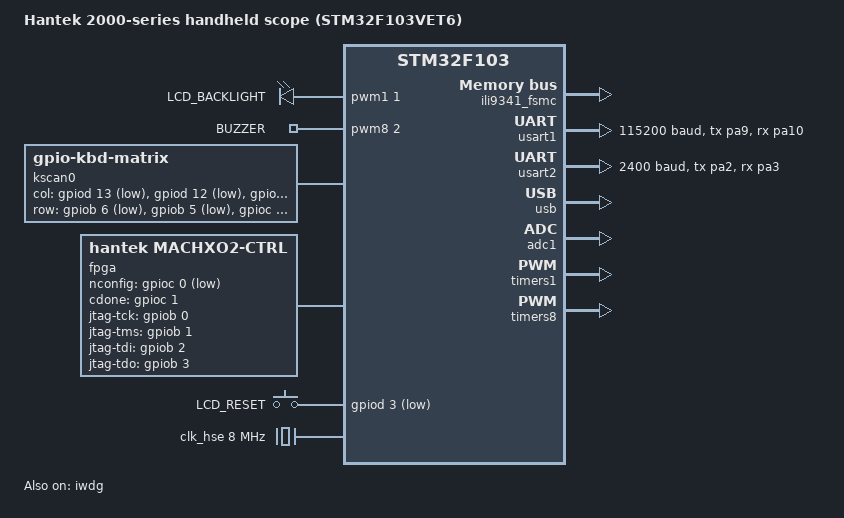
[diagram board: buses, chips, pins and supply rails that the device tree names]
/*
 * Hantek 2000-series handheld scope (2D82AUTO / 2D72 / 2D42 / 2C72 / 2C42)
 * Zephyr board devicetree — a STARTING POINT for clean-room firmware.
 *
 * Derived from firmware reverse-engineering (see docs/hantek/):
 *   MCU   STM32F103VET6  (Cortex-M3, 512K flash / 64K RAM, 100-pin, HAS FSMC)
 *   FPGA  Lattice MachXO2 (capture engine) -- GPIO/SPI control (NOT memory-mapped)
 *   ADC   AD9288 dual 8-bit 40MSPS -> FPGA (not MCU)
 *   DAC   3PD5651E 12-bit parallel (=DAC902) -- AWG, streamed by FPGA
 *   DMM   CS7721 ICL7106-class dual-slope ADC -- slow serial read
 *   AMP   EL5166/LMH6702 -- AWG output buffer (analog)
 *   LCD   parallel TFT on FSMC bank1 @0x60000000 (reads pGLCD_ID at init)
 *   Keys  F1-F4 + arrows + Power (GPIO scan; F1+Power = DFU entry)
 *
 * VERIFIED markers:  [V]=seen in firmware  [?]=inferred, NEEDS board tracing.
 * Pin numbers below are PLACEHOLDERS [?] -- trace the PCB / read the firmware GPIO
 * init to fill real ports. The app at 0x08005000 (20K bootloader); see /chosen.
 */

/dts-v1/;
#include <st/f1/stm32f103Xe.dtsi>
#include <st/f1/stm32f103v(c-d-e)tx-pinctrl.dtsi>
#include <zephyr/dt-bindings/gpio/gpio.h>
#include <zephyr/dt-bindings/pwm/pwm.h>

/ {
	model = "Hantek 2000-series handheld scope (STM32F103VET6)";
	compatible = "hantek,2d82", "st,stm32f103";

	chosen {
		zephyr,sram = &sram0;
		zephyr,flash = &flash0;
		/* console: a TTL/UART debug port exists (the 'Program Arm1' 3.3V header) [V] */
		zephyr,console = &usart1;
		zephyr,shell-uart = &usart1;
		zephyr,keyboard-scan = &kscan0;
	};

	/* LCD backlight: PA8 = TIM1_CH1 [V]. Buzzer: PC7 = TIM8_CH2 [V] (PSC=719 ARR=32 → 3030 Hz).
	 * Both driven via PWM so the clean-room firmware can match OEM behaviour. */
	pwm_leds: pwm-leds {
		compatible = "pwm-leds";
		backlight: backlight {
			pwms = <&pwm1 1 PWM_MSEC(1) PWM_POLARITY_NORMAL>;
			label = "LCD_BACKLIGHT";
		};
	};

	pwm_buzzers: pwm-buzzers {
		compatible = "pwm-leds";
		buzzer: buzzer {
			pwms = <&pwm8 2 PWM_USEC(330) PWM_POLARITY_NORMAL>;
			label = "BUZZER";
		};
	};

	/* 5×4 scanned key matrix = 20 keys.  All pins CONFIRMED from firmware.
	 *
	 * Zephyr gpio-kbd-matrix drives col-gpios as outputs (one low at a time)
	 * and reads row-gpios as inputs.  The OEM does the opposite (rows=outputs,
	 * cols=inputs) — so we swap here: OEM rows → col-gpios, OEM cols → row-gpios.
	 *
	 * OEM rows (now col-gpios, scan outputs, active-low, no pull):
	 *   PD13  PD12  PC3  PB14  PB13
	 * OEM cols (now row-gpios, read inputs, active-low, pull-up to detect press):
	 *   PB6   PB5   PC6   PB12
	 *
	 * Physical key → (row,col) mapping CONFIRMED from vendor-firmware RE.
	 * See docs/hantek/gpio-pinout.md, "Keypad matrix (full)" table, and
	 * key = OEM_row*4 + OEM_col + 1, decoded from ABS_X=col-gpio-idx=OEM row,
	 * ABS_Y=row-gpio-idx=OEM col. Pin
	 * ordering below (col-gpios = Row1..Row5, row-gpios = ColA..ColD) has
	 * been cross-checked against that table and is consistent. */
	kscan0: kscan {
		compatible = "gpio-kbd-matrix";
		status = "okay";
		col-gpios = <&gpiod 13 GPIO_ACTIVE_LOW>,
		            <&gpiod 12 GPIO_ACTIVE_LOW>,
		            <&gpioc 3  GPIO_ACTIVE_LOW>,
		            <&gpiob 14 GPIO_ACTIVE_LOW>,
		            <&gpiob 13 GPIO_ACTIVE_LOW>;
		row-gpios = <&gpiob 6  (GPIO_ACTIVE_LOW | GPIO_PULL_UP)>,
		            <&gpiob 5  (GPIO_ACTIVE_LOW | GPIO_PULL_UP)>,
		            <&gpioc 6  (GPIO_ACTIVE_LOW | GPIO_PULL_UP)>,
		            <&gpiob 12 (GPIO_ACTIVE_LOW | GPIO_PULL_UP)>;
		no-ghostkey-check;
		/* idle-mode defaults to "interrupt", which requires EVERY row-gpio to
		 * arm its own EXTI line. STM32 EXTI lines are shared by pin NUMBER
		 * across all ports (only one port can own EXTIn at a time). PB6 and
		 * PC6 both use bit 6, so the driver's per-row interrupt-configure loop
		 * (input_gpio_kbd_matrix.c: gpio_kbd_matrix_set_detect_mode) succeeds
		 * on PB6 then fails with -EBUSY on PC6 — confirmed via Renode boot log
		 * ("input_gpio_kbd_matrix: Pin 2 interrupt configuration failed: -16").
		 * Net effect: once the matrix goes idle (100ms, poll-timeout-ms
		 * default), only the PB6 row can wake it via interrupt — presses on
		 * the PB5/PC6/PB12 rows would never be detected again after the first
		 * idle timeout. "poll" mode sidesteps EXTI entirely (periodic
		 * re-check via k_work_delayable) and needs no pin-level change. */
		idle-mode = "poll";
	};

	/* MachXO2 FPGA control lines (GPIO bit-bang, NOT FSMC). [V: heavy GPIO; ?: pins]
	 * Runtime: MCU writes config (sample-rate/trigger/AWG-table) + reads capture.
	 * Config/update: JTAG (TCK/TMS/TDI/TDO) bit-banged from GPIO. */
	fpga: fpga-ctrl {
		compatible = "hantek,machxo2-ctrl";   /* custom driver to write */
		/* control/handshake — placeholders, fill from GPIO init trace */
		nconfig-gpios = <&gpioc 0 GPIO_ACTIVE_LOW>;
		cdone-gpios   = <&gpioc 1 GPIO_ACTIVE_HIGH>;
		/* JTAG for bitstream update */
		jtag-tck-gpios = <&gpiob 0 GPIO_ACTIVE_HIGH>;
		jtag-tms-gpios = <&gpiob 1 GPIO_ACTIVE_HIGH>;
		jtag-tdi-gpios = <&gpiob 2 GPIO_ACTIVE_HIGH>;
		jtag-tdo-gpios = <&gpiob 3 GPIO_ACTIVE_HIGH>;
	};

	/* DMM front-end (CS7721, ICL7106-class). Slow serial result + range/func GPIOs.
	 * [V: low-traffic serial; ?: which bus/pins] */
	dmm: cs7721 {
		compatible = "hantek,cs7721-dmm";    /* custom driver to write */
		/* if on SPI1: make it a spi child instead; if bit-bang, list gpios here */
		status = "okay";
	};

	/* Scope analog-capture front-end: AD9288 dual 8-bit ADC -> MachXO2 FPGA -> MCU.
	 * The MCU's ADC1 + DMA1 participate in the local capture path.
	 * Modelled as a node for the (new) capture driver; not a Zephyr adc binding. [V] */
	capture: scope-capture {
		compatible = "hantek,scope-capture";   /* custom driver to write */
		status = "okay";
		/* AD9288 is read by the FPGA, not the MCU; MCU ADC1+DMA1 are the local path */
	};

	aliases {
		backlight = &backlight;
		buzzer    = &buzzer;
		lcd-reset = &lcd_reset;
	};

	gpio_keys: gpio-keys {
		compatible = "gpio-keys";
		lcd_reset: lcd-reset {
			gpios = <&gpiod 3 GPIO_ACTIVE_LOW>;  /* PD3 = ILI9341 RESET# [V] */
			label = "LCD_RESET";
			zephyr,code = <0>;
		};
	};
};

/* ---- Clocks ----
 * The board runs SYSCLK = 72 MHz from an 8 MHz HSE crystal via PLL x9
 *   (AHB 72, APB1 36, APB2 72). [V] confirmed from the clock-config registers.
 */
&clk_hse {
	clock-frequency = <DT_FREQ_M(8)>;   /* 8 MHz crystal [V, from PLLx9->72MHz] */
	status = "okay";
};

&pll {
	mul = <9>;                          /* x9 [V]: 8MHz HSE → 72MHz SYSCLK */
	clocks = <&clk_hse>;
	status = "okay";
};

&rcc {
	clocks = <&pll>;
	clock-frequency = <DT_FREQ_M(72)>;  /* SYSCLK 72 MHz [V] */
	ahb-prescaler = <1>;
	apb1-prescaler = <2>;               /* APB1 36 MHz [V] */
	apb2-prescaler = <1>;               /* APB2 72 MHz [V] */
};

/* ---- Peripherals (literal-pool refs from firmware show which are used) ----
 * Peripherals present/used on this board: ADC1, DMA1, DMA2, SPI1, USART1, USART2,
 * AFIO, FLASH, FSMC, GPIOA-E, TIM1/3/4/5. Enable the ones the new firmware uses: */

&usart1 {                 /* [V] TTL debug/console (3.3V) + STM32 serial bootloader */
	pinctrl-0 = <&usart1_tx_pa9 &usart1_rx_pa10>;
	pinctrl-names = "default";
	current-speed = <115200>;
	status = "okay";
};

&usart2 {                 /* [V] CS7721 DMM serial: PA3 RX @ 2400 8N1 (PA2 TX optional) */
	pinctrl-0 = <&usart2_tx_pa2 &usart2_rx_pa3>;
	pinctrl-names = "default";
	current-speed = <2400>;
	status = "okay";
};

&spi1 {                   /* [V] 2 refs -- FPGA config and/or CS7721 DMM serial */
	/* STM32F1 pinctrl uses _master_/_slave_ suffix for SPI direction */
	pinctrl-0 = <&spi1_sck_master_pa5 &spi1_miso_master_pa6 &spi1_mosi_master_pa7>;
	pinctrl-names = "default";
	status = "disabled";      /* not needed for first stage; enable when FPGA/DMM driver added */
	/* cs-gpios = <...>;  add FPGA / DMM chip-selects when traced */
};

&usb {                    /* [V] USB FS device -- DFU + the Hantek USB control protocol
                           * (already RE'd: VID 0x0483 PID 0x2d42, EP2 out / EP1 in,
                           * 9-byte frame; see hkoosha/hanteker hanteker_lib)
                           * STM32F103 label is &usb (not &usbd which is a different binding) */
	status = "okay";

	cdc_acm_uart0: cdc_acm_uart0 {
		compatible = "zephyr,cdc-acm-uart";
		label = "CDC_ACM_0";
	};
};

/* FSMC LCD — ILI9341 320×240 RGB565 via FSMC Bank1.
 * cmd @ 0x60000000 (A16=0), data @ 0x60020000 (A16=1).
 * No Zephyr FSMC binding exists for STM32F1; driver uses direct MMIO.
 * compatible = "a2k,ili9341-fsmc" matches the binding in a2k_board/dts/bindings/. */
/ {
	chosen {
		zephyr,display = &ili9341_fsmc;
	};

	ili9341_fsmc: ili9341_fsmc@60000000 {
		compatible = "a2k,ili9341-fsmc";
		reg = <0x60000000 0x40000>;   /* cmd+data window */
		width = <320>;
		height = <240>;
		status = "okay";
	};
};

&adc1 {                   /* [V] local ADC (battery/supply sense); scope ADC is the AD9288 on the FPGA */
	/* pinctrl-0 not set yet — ADC channel pins need tracing before enabling */
	status = "okay";
};

&dma1 {                   /* [V] used by the capture path (ADC->mem) */
	status = "okay";
};

&dma2 {                   /* [V] used (LCD/data movement) */
	status = "okay";
};

&timers1 {                /* [V] TIM1_CH1 → PA8 LCD backlight PWM */
	status = "okay";
	st,prescaler = <1>;   /* PSC=1 → 36MHz tick; 1ms period = 36000 counts < 65535 */
	pwm1: pwm {
		compatible = "st,stm32-pwm";
		/* clocks come from the parent &timers1 node (already has bus +
		 * TIMPCLK2 in stm32f1.dtsi) — child clocks are ignored by the driver */
		pinctrl-0 = <&tim1_ch1_pwm_out_pa8>;
		pinctrl-names = "default";
		#pwm-cells = <3>;
		status = "okay";
	};
};

&timers8 {                /* [V] TIM8_CH2 → PC7 buzzer PWM */
	status = "okay";
	st,prescaler = <0>;
	/* pwm_stm32 reads clocks from THIS parent node (DT_INST_PARENT), not the
	 * pwm child. SoC dtsi (stm32f103Xc) only lists the bus clock here — the
	 * TIMPCLK domain clock must be added or pwm init fails with
	 * "Timer clock source is not specified". timers1 already has both in
	 * stm32f1.dtsi. */
	clocks = <&rcc STM32_CLOCK(APB2, 13)>,
	         <&rcc STM32_SRC_TIMPCLK2 NO_SEL>;
	pwm8: pwm {
		compatible = "st,stm32-pwm";
		pinctrl-0 = <&tim8_ch2_pwm_out_pc7>;
		pinctrl-names = "default";
		#pwm-cells = <3>;
		status = "okay";
	};
};

&iwdg {
	status = "okay";
};

/* Renode testing: expand SRAM to 1MB so heap/stack sizes are not constrained.
 * Real HW has 64KB; this override is only for emulation convenience. */
&sram0 {
	reg = <0x20000000 0x100000>;   /* 1MB for Renode testing */
};

/* Flash layout: 20K custom DFU bootloader @0x08000000, app @0x08005000. [V] */
&flash0 {
	partitions {
		compatible = "fixed-partitions";
		#address-cells = <1>;
		#size-cells = <1>;

		boot_partition: partition@0 {
			label = "hantek-dfu-bootloader";  /* vendor DFU, leave intact */
			reg = <0x00000000 0x00005000>;    /* 20 KB */
			read-only;
		};
		slot0_partition: partition@5000 {
			label = "image-0";                /* your firmware goes here */
			reg = <0x00005000 0x0007A000>;    /* ~488 KB — 4KB carved off end for NVS */
		};
		nvs_partition: partition@7f000 {
			label = "nvs";
			reg = <0x0007F000 0x00001000>;    /* 4 KB NVS at top of flash */
		};
	};
};
